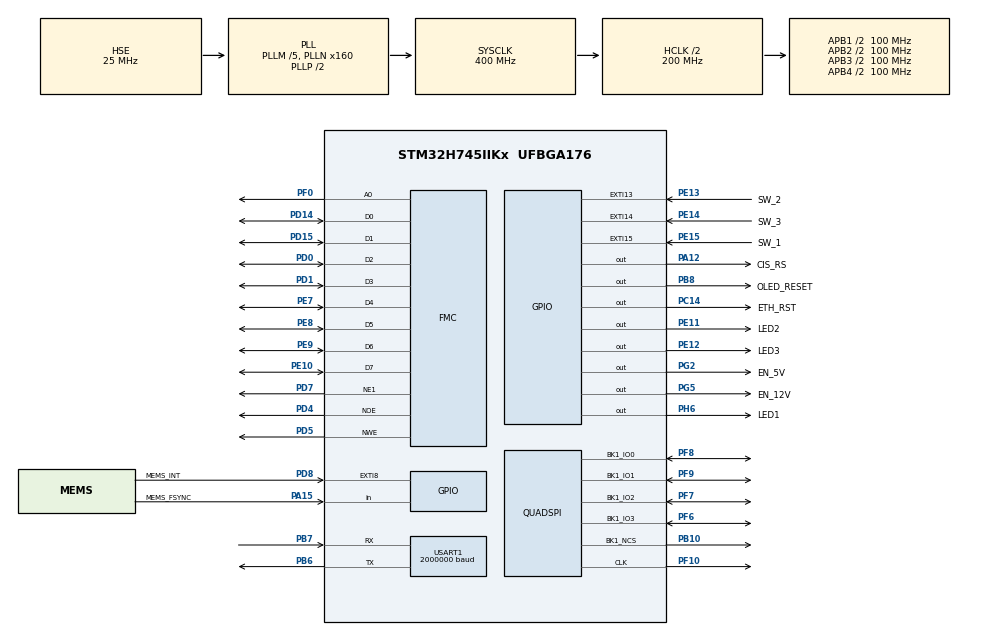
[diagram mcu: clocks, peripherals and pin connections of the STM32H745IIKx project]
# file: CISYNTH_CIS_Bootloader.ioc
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CORTEX_M7.AccessPermission_S-Cortex_Memory_Protection_Unit_Region1_Settings_S=MPU_REGION_FULL_ACCESS
CORTEX_M7.AccessPermission_S-Cortex_Memory_Protection_Unit_Region2_Settings_S=MPU_REGION_FULL_ACCESS
CORTEX_M7.BaseAddress_S-Cortex_Memory_Protection_Unit_Region1_Settings_S=0x40000000
CORTEX_M7.BaseAddress_S-Cortex_Memory_Protection_Unit_Region2_Settings_S=0x30044000
CORTEX_M7.CPU_DCache=Enabled
CORTEX_M7.CPU_ICache=Enabled
CORTEX_M7.Enable-Cortex_Memory_Protection_Unit_Region0_Settings=__NULL
CORTEX_M7.Enable-Cortex_Memory_Protection_Unit_Region1_Settings=__NULL
CORTEX_M7.Enable-Cortex_Memory_Protection_Unit_Region2_Settings=__NULL
CORTEX_M7.Enable-Cortex_Memory_Protection_Unit_Region3_Settings=__NULL
CORTEX_M7.Enable-Cortex_Memory_Protection_Unit_Region4_Settings=__NULL
CORTEX_M7.Enable_S-Cortex_Memory_Protection_Unit_Region1_Settings_S=MPU_REGION_ENABLE
CORTEX_M7.Enable_S-Cortex_Memory_Protection_Unit_Region2_Settings_S=MPU_REGION_ENABLE
CORTEX_M7.IsBufferable_S-Cortex_Memory_Protection_Unit_Region1_Settings_S=MPU_ACCESS_BUFFERABLE
CORTEX_M7.IsCacheable_S-Cortex_Memory_Protection_Unit_Region2_Settings_S=MPU_ACCESS_CACHEABLE
CORTEX_M7.MPU_Control=MPU_PRIVILEGED_DEFAULT
CORTEX_M7.Size_S-Cortex_Memory_Protection_Unit_Region1_Settings_S=MPU_REGION_SIZE_256B
CORTEX_M7.Size_S-Cortex_Memory_Protection_Unit_Region2_Settings_S=MPU_REGION_SIZE_16KB
CORTEX_M7.default_mode_Activation=0
CRC.InputDataFormat=CRC_INPUTDATA_FORMAT_BYTES
CRC.InputDataInversionMode=CRC_INPUTDATA_INVERSION_BYTE
CRC.OutputDataInversionMode=CRC_OUTPUTDATA_INVERSION_ENABLE
CortexM4.IPs=CORTEX_M4\:I,FATFS_M4\:I,FREERTOS_M4\:I,IWDG2\:I,OPENAMP_M4\:I,PDM2PCM_M4\:I,PWR,RCC,RESMGR_UTILITY,SYS_M4\:I,USB_DEVICE_M4\:I,USB_HOST_M4\:I,VREFBUF,WWDG2\:I,DMA,BDMA,MDMA,NVIC2\:I,GPIO
CortexM7.IPs=CORTEX_M7\:I,DEBUG\:I,FATFS_M7\:I,FREERTOS_M7\:I,IWDG1\:I,OPENAMP_M7\:I,PDM2PCM_M7\:I,PWR\:I,RCC\:I,RESMGR_UTILITY\:I,SYS\:I,USB_DEVICE_M7\:I,USB_HOST_M7\:I,VREFBUF\:I,WWDG1\:I,DMA\:I,BDMA\:I,MDMA\:I,NVIC1\:I,USART1\:I,RNG\:I,CRC\:I,FMC\:I,GPIO\:I,QUADSPI\:I
CortexM7.Pins=PB8,PA15 (JTDI),PA12,PC14-OSC32_IN (OSC32_IN),PG5,PG2,PD8,PE14,PE12,PE13,PE15,PH6,PE11
FATFS_M7._FS_NORTC=1
FATFS_M7._FS_RPATH=2
FATFS_M7._MAX_SS=4096
FATFS_M7._MIN_SS=4096
FATFS_M7._USE_LFN=3
FMC.AddressSetupTime1=8
FMC.BusTurnAroundDuration1=5
FMC.DataSetupTime1=10
FMC.ExtendedAddressSetupTime1=8
FMC.ExtendedBusTurnAroundDuration1=5
FMC.ExtendedDataSetupTime1=10
FMC.ExtendedMode1=FMC_EXTENDED_MODE_ENABLE
FMC.WaitSignal1-NorPsramChipSelect1_1=FMC_WAIT_SIGNAL_ENABLE
FMC.WriteBurst1-Lcd1=FMC_WRITE_BURST_ENABLE
FMC.WriteOperation1-Lcd1=FMC_WRITE_OPERATION_DISABLE
Mcu.Family=STM32H7
Mcu.Name=STM32H745IIKx
Mcu.Package=UFBGA176
NVIC1.EXTI15_10_IRQn=true\:0\:2\:true\:false\:true\:true\:true\:true
NVIC1.PriorityGroup=NVIC_PRIORITYGROUP_2
NVIC1.QUADSPI_IRQn=true\:2\:0\:true\:false\:true\:true\:true\:true
NVIC1.TIM2_IRQn=true\:0\:0\:true\:false\:true\:false\:true\:true
NVIC1.TimeBase=TIM2_IRQn
NVIC1.TimeBaseIP=TIM2
NVIC2.PriorityGroup=NVIC_PRIORITYGROUP_2
PA0_C.GPIO_Label=CIS_ADC_1
PA0_C.PinAttribute=CortexM7
PA0_C.Signal=ADCx_INP0
PA1.GPIO_Mode=GPIO_MODE_AF_PP
PA1.GPIO_PuPd=GPIO_NOPULL
PA1.GPIO_Speed=GPIO_SPEED_FREQ_VERY_HIGH
PA1.PinAttribute=CortexM7
PA1.Signal=ETH_REF_CLK
PA12.GPIO_Label=CIS_RS
PA12.GPIO_Speed=GPIO_SPEED_FREQ_VERY_HIGH
PA12.PinAttribute=CortexM7
PA12.Signal=GPIO_Output
PA13\ (JTMS/SWDIO).Mode=Serial_Wire
PA13\ (JTMS/SWDIO).PinAttribute=CortexM7
PA13\ (JTMS/SWDIO).Signal=DEBUG_JTMS-SWDIO
PA14\ (JTCK/SWCLK).Mode=Serial_Wire
PA14\ (JTCK/SWCLK).PinAttribute=CortexM7
PA14\ (JTCK/SWCLK).Signal=DEBUG_JTCK-SWCLK
PA15\ (JTDI).GPIO_Label=MEMS_FSYNC
PA15\ (JTDI).GPIO_PuPd=GPIO_PULLUP
PA15\ (JTDI).PinAttribute=CortexM7
PA15\ (JTDI).Signal=GPIO_Input
PA1_C.GPIO_Label=CIS_ADC_2
PA1_C.PinAttribute=CortexM7
PA1_C.Signal=ADCx_INP1
PA2.GPIO_Mode=GPIO_MODE_AF_PP
PA2.GPIO_PuPd=GPIO_NOPULL
PA2.GPIO_Speed=GPIO_SPEED_FREQ_VERY_HIGH
PA2.PinAttribute=CortexM7
PA2.Signal=ETH_MDIO
PA7.GPIO_Mode=GPIO_MODE_AF_PP
PA7.GPIO_PuPd=GPIO_NOPULL
PA7.GPIO_Speed=GPIO_SPEED_FREQ_VERY_HIGH
PA7.PinAttribute=CortexM7
PA7.Signal=ETH_CRS_DV
PA9.GPIO_Label=CIS_CP
PA9.GPIO_Speed=GPIO_SPEED_FREQ_MEDIUM
PA9.PinAttribute=CortexM7
PA9.Signal=S_TIM1_CH2
PB10.GPIO_Speed=GPIO_SPEED_FREQ_VERY_HIGH
PB10.Mode=Single Bank 1
PB10.PinAttribute=CortexM7
PB10.Signal=QUADSPI_BK1_NCS
PB14.GPIO_Speed=GPIO_SPEED_FREQ_VERY_HIGH
PB14.PinAttribute=CortexM7
PB14.Signal=SPI2_MISO
PB15.GPIO_Speed=GPIO_SPEED_FREQ_VERY_HIGH
PB15.PinAttribute=CortexM7
PB15.Signal=SPI2_MOSI
PB6.Mode=Asynchronous
PB6.PinAttribute=CortexM7
PB6.Signal=USART1_TX
PB7.Mode=Asynchronous
PB7.PinAttribute=CortexM7
PB7.Signal=USART1_RX
PB8.GPIO_FM8=SYSCFG_PMCR_I2C_PB8_FMP
PB8.GPIO_Label=OLED_RESET
PB8.GPIO_Speed=GPIO_SPEED_FREQ_LOW
PB8.PinAttribute=CortexM7
PB8.Signal=GPIO_Output
PB9.GPIO_FM9=SYSCFG_PMCR_I2C_PB9_FMP
PB9.GPIO_Label=MEMS_CS
PB9.GPIO_Speed=GPIO_SPEED_FREQ_VERY_HIGH
PB9.PinAttribute=CortexM7
PB9.Signal=SPI2_NSS
PC1.GPIO_Mode=GPIO_MODE_AF_PP
PC1.GPIO_PuPd=GPIO_NOPULL
PC1.GPIO_Speed=GPIO_SPEED_FREQ_VERY_HIGH
PC1.PinAttribute=CortexM7
PC1.Signal=ETH_MDC
PC14-OSC32_IN\ (OSC32_IN).GPIO_Label=ETH_RST
PC14-OSC32_IN\ (OSC32_IN).PinAttribute=CortexM7
PC14-OSC32_IN\ (OSC32_IN).Signal=GPIO_Output
PC3_C.GPIO_Label=CIS_ADC_3
PC3_C.PinAttribute=CortexM7
PC3_C.Signal=ADC3_INP1
PC4.GPIO_Mode=GPIO_MODE_AF_PP
PC4.GPIO_PuPd=GPIO_NOPULL
PC4.GPIO_Speed=GPIO_SPEED_FREQ_VERY_HIGH
PC4.PinAttribute=CortexM7
PC4.Signal=ETH_RXD0
PC5.GPIO_Mode=GPIO_MODE_AF_PP
PC5.GPIO_PuPd=GPIO_NOPULL
PC5.GPIO_Speed=GPIO_SPEED_FREQ_VERY_HIGH
PC5.PinAttribute=CortexM7
PC5.Signal=ETH_RXD1
PC6.GPIO_Label=CIS_LED_B
PC6.GPIO_Speed=GPIO_SPEED_FREQ_MEDIUM
PC6.PinAttribute=CortexM7
PC6.Signal=S_TIM3_CH1
PC8.GPIO_Label=CIS_SP
PC8.GPIO_Speed=GPIO_SPEED_FREQ_MEDIUM
PC8.PinAttribute=CortexM7
PC8.Signal=S_TIM8_CH3
PD0.PinAttribute=CortexM7
PD0.Signal=FMC_D2_DA2
PD1.PinAttribute=CortexM7
PD1.Signal=FMC_D3_DA3
PD13.GPIO_Label=CIS_LED_R
PD13.GPIO_Speed=GPIO_SPEED_FREQ_MEDIUM
PD13.PinAttribute=CortexM7
PD13.Signal=S_TIM4_CH2
PD14.PinAttribute=CortexM7
PD14.Signal=FMC_D0_DA0
PD15.PinAttribute=CortexM7
PD15.Signal=FMC_D1_DA1
PD3.GPIO_Speed=GPIO_SPEED_FREQ_VERY_HIGH
PD3.PinAttribute=CortexM7
PD3.Signal=SPI2_SCK
PD4.PinAttribute=CortexM7
PD4.Signal=FMC_NOE
PD5.PinAttribute=CortexM7
PD5.Signal=FMC_NWE
PD7.Mode=NorPsramChipSelect1_1
PD7.PinAttribute=CortexM7
PD7.Signal=FMC_NE1
PD8.GPIO_Label=MEMS_INT
PD8.GPIO_ModeDefaultEXTI=GPIO_MODE_IT_FALLING
PD8.GPIO_PuPd=GPIO_PULLUP
PD8.PinAttribute=CortexM7
PD8.Signal=GPXTI8
PE10.PinAttribute=CortexM7
PE10.Signal=FMC_D7_DA7
PE11.GPIO_Label=LED2
PE11.PinAttribute=CortexM7
PE11.PinState=GPIO_PIN_SET
PE11.Signal=GPIO_Output
PE12.GPIO_Label=LED3
PE12.PinAttribute=CortexM7
PE12.PinState=GPIO_PIN_SET
PE12.Signal=GPIO_Output
PE13.GPIO_Label=SW_2
PE13.GPIO_ModeDefaultEXTI=GPIO_MODE_IT_FALLING
PE13.PinAttribute=CortexM7
PE13.Signal=GPXTI13
PE14.GPIO_Label=SW_3
PE14.GPIO_ModeDefaultEXTI=GPIO_MODE_IT_FALLING
PE14.PinAttribute=CortexM7
PE14.Signal=GPXTI14
PE15.GPIO_Label=SW_1
PE15.GPIO_ModeDefaultEXTI=GPIO_MODE_IT_FALLING
PE15.PinAttribute=CortexM7
PE15.Signal=GPXTI15
PE7.PinAttribute=CortexM7
PE7.Signal=FMC_D4_DA4
PE8.PinAttribute=CortexM7
PE8.Signal=FMC_D5_DA5
PE9.PinAttribute=CortexM7
PE9.Signal=FMC_D6_DA6
PF0.PinAttribute=CortexM7
PF0.Signal=FMC_A0
PF10.GPIO_Speed=GPIO_SPEED_FREQ_VERY_HIGH
PF10.Mode=Single Bank 1
PF10.PinAttribute=CortexM7
PF10.Signal=QUADSPI_CLK
PF6.GPIO_Speed=GPIO_SPEED_FREQ_VERY_HIGH
PF6.Mode=Single Bank 1
PF6.PinAttribute=CortexM7
PF6.Signal=QUADSPI_BK1_IO3
PF7.GPIO_Speed=GPIO_SPEED_FREQ_VERY_HIGH
PF7.Mode=Single Bank 1
PF7.PinAttribute=CortexM7
PF7.Signal=QUADSPI_BK1_IO2
PF8.GPIO_Speed=GPIO_SPEED_FREQ_VERY_HIGH
PF8.Mode=Single Bank 1
PF8.PinAttribute=CortexM7
PF8.Signal=QUADSPI_BK1_IO0
PF9.GPIO_Speed=GPIO_SPEED_FREQ_VERY_HIGH
PF9.Mode=Single Bank 1
PF9.PinAttribute=CortexM7
PF9.Signal=QUADSPI_BK1_IO1
PG11.GPIO_Mode=GPIO_MODE_AF_PP
PG11.GPIO_PuPd=GPIO_NOPULL
PG11.GPIO_Speed=GPIO_SPEED_FREQ_VERY_HIGH
PG11.PinAttribute=CortexM7
PG11.Signal=ETH_TX_EN
PG13.GPIO_Mode=GPIO_MODE_AF_PP
PG13.GPIO_PuPd=GPIO_NOPULL
PG13.GPIO_Speed=GPIO_SPEED_FREQ_VERY_HIGH
PG13.PinAttribute=CortexM7
PG13.Signal=ETH_TXD0
PG14.GPIO_Mode=GPIO_MODE_AF_PP
PG14.GPIO_PuPd=GPIO_NOPULL
PG14.GPIO_Speed=GPIO_SPEED_FREQ_VERY_HIGH
PG14.PinAttribute=CortexM7
PG14.Signal=ETH_TXD1
PG2.GPIO_Label=EN_5V
PG2.PinAttribute=CortexM7
PG2.Signal=GPIO_Output
PG5.GPIO_Label=EN_12V
PG5.PinAttribute=CortexM7
PG5.Signal=GPIO_Output
PH0-OSC_IN\ (PH0).Mode=HSE-External-Oscillator
PH0-OSC_IN\ (PH0).PinAttribute=Free
PH0-OSC_IN\ (PH0).Signal=RCC_OSC_IN
PH1-OSC_OUT\ (PH1).Mode=HSE-External-Oscillator
PH1-OSC_OUT\ (PH1).PinAttribute=Free
PH1-OSC_OUT\ (PH1).Signal=RCC_OSC_OUT
PH12.GPIO_Label=CIS_LED_G
PH12.GPIO_Speed=GPIO_SPEED_FREQ_MEDIUM
PH12.PinAttribute=CortexM7
PH12.Signal=S_TIM5_CH3
PH6.GPIO_Label=LED1
PH6.GPIO_Speed=GPIO_SPEED_FREQ_LOW
PH6.PinAttribute=CortexM7
PH6.PinState=GPIO_PIN_SET
PH6.Signal=GPIO_Output
ProjectManager.HeapSize=M4-0x400,M7-0x400
ProjectManager.StackSize=M4-0x800,M7-0x800
ProjectManager.TargetToolchain=STM32CubeIDE
QUADSPI.ChipSelectHighTime=QSPI_CS_HIGH_TIME_4_CYCLE
QUADSPI.ClockPrescaler=1
QUADSPI.FifoThreshold=16
QUADSPI.SampleShifting=QSPI_SAMPLE_SHIFTING_HALFCYCLE
RCC.ADCFreq_Value=80000000
RCC.APB1Freq_Value=100000000
RCC.APB2Freq_Value=100000000
RCC.APB3Freq_Value=100000000
RCC.APB4Freq_Value=100000000
RCC.CKPERSourceSelection=RCC_CLKPSOURCE_HSE
RCC.CortexFreq_Value=400000000
RCC.D1PPRE=RCC_APB3_DIV2
RCC.D2PPRE1=RCC_APB1_DIV2
RCC.D2PPRE2=RCC_APB2_DIV2
RCC.D3PPRE=RCC_APB4_DIV2
RCC.DIVM1=5
RCC.DIVM2=5
RCC.DIVM3=5
RCC.DIVN1=160
RCC.DIVN2=160
RCC.DIVN3=160
RCC.DIVP2=10
RCC.DIVP3=16
RCC.DIVQ1=8
RCC.DIVQ2=10
RCC.DIVQ3=16
RCC.DIVR1=4
RCC.DIVR2=10
RCC.DIVR3=16
RCC.FLatency-AdvancedSettings=FLASH_LATENCY_0
RCC.FMCCLockSelection=RCC_FMCCLKSOURCE_PLL
RCC.HCLKFreq_Value=200000000
RCC.HPRE=RCC_HCLK_DIV2
RCC.PLL1_VCI_Range-AdvancedSettings=RCC_PLL1VCIRANGE_0
RCC.PLL1_VCO_SEL-AdvancedSettings=RCC_PLL1VCOMEDIUM
RCC.PLL3_VCI_Range-AdvancedSettings=RCC_PLL3VCIRANGE_0
RCC.PLL3_VCO_SEL-AdvancedSettings=RCC_PLL3VCOMEDIUM
RCC.PLLFRACN=0
RCC.PLLSourceVirtual=RCC_PLLSOURCE_HSE
RCC.PWR_Regulator_Voltage_Scale=PWR_REGULATOR_VOLTAGE_SCALE1
RCC.QSPICLockSelection=RCC_QSPICLKSOURCE_PLL
RCC.SAI1CLockSelection=RCC_SAI1CLKSOURCE_PLL2
RCC.SPI123CLockSelection=RCC_SPI123CLKSOURCE_PLL2
RCC.SYSCLKFreq_VALUE=400000000
RCC.SYSCLKSource=RCC_SYSCLKSOURCE_PLLCLK
RCC.USART16CLockSelection=RCC_USART16CLKSOURCE_PLL3
RCC.USBFreq_Value=100000000
SH.ADCx_INP0.0=ADC1_INP0
SH.ADCx_INP1.0=ADC2_INP1
SH.FMC_A0.0=FMC_A0,A0_1
SH.FMC_D0_DA0.0=FMC_D0,8b-d1
SH.FMC_D1_DA1.0=FMC_D1,8b-d1
SH.FMC_D2_DA2.0=FMC_D2,8b-d1
SH.FMC_D3_DA3.0=FMC_D3,8b-d1
SH.FMC_D4_DA4.0=FMC_D4,8b-d1
SH.FMC_D5_DA5.0=FMC_D5,8b-d1
SH.FMC_D6_DA6.0=FMC_D6,8b-d1
SH.FMC_D7_DA7.0=FMC_D7,8b-d1
SH.FMC_NOE.0=FMC_NOE,Lcd1
SH.FMC_NWE.0=FMC_NWE,Lcd1
SH.S_TIM1_CH2.0=TIM1_CH2
SH.S_TIM3_CH1.0=TIM3_CH1
SH.S_TIM4_CH2.0=TIM4_CH2
SH.S_TIM5_CH3.0=TIM5_CH3
SH.S_TIM8_CH3.0=TIM8_CH3
USART1.BaudRate=2000000
USART1.VirtualMode-Asynchronous=VM_ASYNC
VP_CRC_VS_CRC.Mode=CRC_Activate
VP_FATFS_M7_VS_Generic.Mode=User_defined
VP_RNG_VS_RNG.Mode=RNG_Activate
VP_SYS_M4_VS_Systick.Mode=SysTick
board=custom

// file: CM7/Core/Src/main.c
/* USER CODE BEGIN Header */
/**
 ******************************************************************************
 * @file           : main.c
 * @brief          : Main program body
 ******************************************************************************
 * @attention
 *
 * Copyright (c) 2024 STMicroelectronics.
 * All rights reserved.
 *
 * This software is licensed under terms that can be found in the LICENSE file
 * in the root directory of this software component.
 * If no LICENSE file comes with this software, it is provided AS-IS.
 *
 ******************************************************************************
 */
/* USER CODE END Header */
#include "main.h"
#include "crc.h"
#include "fatfs.h"
#include "quadspi.h"
#include "rng.h"
#include "usart.h"
#include "gpio.h"
#include "fmc.h"

/* USER CODE BEGIN Includes */
#include "boot_config.h"
#include "stm32_flash.h"
#include "file_manager.h"

#include "update.h"
#include "update_gui.h"

#include "basetypes.h"
#include "stdio.h"
#include "stdbool.h"

/* USER CODE END Includes */

/* USER CODE BEGIN PV */

typedef void (*pFunction)(void);

/* USER CODE END PV */

void SystemClock_Config(void);
static void MPU_Config(void);
/* USER CODE BEGIN PFP */

/* Function prototypes */
static void configureBootConfiguration(void);
static void reboot(void);
static void gotoFirmware(uint32_t fwFlashStartAdd);

/* USER CODE END PFP */

/* USER CODE BEGIN 0 */

#include "stm32h7xx_hal.h"

/**
 * @brief  Configure boot settings for CM4.
 *         This function checks and updates the option bytes to ensure the correct
 *         boot address and permissions for the Cortex-M4 core.
 */
void configureBootConfiguration(void)
{
    bool needUpdate = false;
    FLASH_OBProgramInitTypeDef currentOB = {0};
    FLASH_OBProgramInitTypeDef newOB     = {0};

    // 1) Unlock the FLASH and the option bytes
    HAL_FLASH_Unlock();
    HAL_FLASH_OB_Unlock();

    // 2) Read the current option bytes configuration
    HAL_FLASHEx_OBGetConfig(&currentOB);

    // 3) Check if the current boot addresses match the desired ones
    uint32_t currentCm4Boot = currentOB.CM4BootAddr0;

    if (currentCm4Boot != FW_CM4_START_ADDR)
    {
        newOB.OptionType |= OPTIONBYTE_CM4_BOOTADD;
        newOB.CM4BootConfig = OB_BOOT_ADD0;
        newOB.CM4BootAddr0 = FW_CM4_START_ADDR;

        needUpdate = true;
    }

    // 4) Check if the CM4 is currently allowed to boot
    if (READ_BIT(SYSCFG->UR1, SYSCFG_UR1_BCM4) != 0U)
    {
        newOB.OptionType |= OPTIONBYTE_USER;
        newOB.USERType   |= OB_USER_BCM4;
        newOB.USERConfig = (currentOB.USERConfig & ~OB_BCM4_ENABLE) | OB_BCM4_DISABLE;

        needUpdate = true;
    }

    // 5) Apply the new configuration if needed
    if (needUpdate)
    {
        // Program the new option bytes
        if (HAL_FLASHEx_OBProgram(&newOB) != HAL_OK)
        {
            Error_Handler();
        }

        // Trigger the update of the option bytes
        if (HAL_FLASH_OB_Launch() != HAL_OK)
        {
            Error_Handler();
        }

        // Restart the system to apply the changes
        HAL_NVIC_SystemReset();
    }

    // 8) Relock
    HAL_FLASH_OB_Lock();
    HAL_FLASH_Lock();
}

/**
 * @brief  Reboot the system after a delay.
 */
static void reboot(void)
{
	printf("Rebooting in 2\n");
	/* Wait 2 seconds. */
	HAL_Delay(2000);
	NVIC_SystemReset();
}

/**
 * @brief  Jump to the firmware stored in flash memory.
 * @param  fwFlashStartAdd  Address where the firmware starts in flash memory.
 */
static void gotoFirmware(uint32_t fwFlashStartAdd)
{
	HAL_MPU_Disable();
	HAL_SuspendTick();

	__disable_irq(); // Disable interrupt

	SysTick->CTRL = 0;  // Disable SysTick
	SysTick->LOAD = 0;
	SysTick->VAL  = 0;

	HAL_RCC_DeInit();

	for (uint8_t i = 0; i < 8; i++) // Clear all NVIC Enable and Pending registers
	{
		NVIC->ICER[i] = 0xFFFFFFFF;
		NVIC->ICPR[i] = 0xFFFFFFFF;
	}

	// Validate firmware address
	uint32_t appStack = *((volatile uint32_t*) fwFlashStartAdd);
	uint32_t appEntry = *((volatile uint32_t*) (fwFlashStartAdd + 4));

	SCB_DisableICache();
	SCB_DisableDCache();

	__enable_irq();

	__DMB();
	SCB->VTOR = fwFlashStartAdd;
	__DSB();

	HAL_DeInit();
	__set_MSP(appStack);

	pFunction jumpToApplication = (pFunction)appEntry;
	jumpToApplication();
}
/* USER CODE END 0 */

int main(void)
{

	/* USER CODE BEGIN Boot_Mode_Sequence_0 */

	/* USER CODE END Boot_Mode_Sequence_0 */

	/* MPU Configuration--------------------------------------------------------*/
	MPU_Config();

	/* Enable the CPU Cache */

	/* Enable I-Cache---------------------------------------------------------*/
	SCB_EnableICache();

	/* Enable D-Cache---------------------------------------------------------*/
	SCB_EnableDCache();

	/* USER CODE BEGIN Boot_Mode_Sequence_1 */

	/* USER CODE END Boot_Mode_Sequence_1 */
	/* MCU Configuration--------------------------------------------------------*/

	/* Reset of all peripherals, Initializes the Flash interface and the Systick. */
	HAL_Init();

	/* USER CODE BEGIN Init */
	configureBootConfiguration();
	/* USER CODE END Init */

	/* Configure the system clock */
	SystemClock_Config();
	/* USER CODE BEGIN Boot_Mode_Sequence_2 */
	//STM32Flash_writePersistentData(FW_UPDATE_RECEIVED);	//uncomment for testing
	//STM32Flash_writePersistentData(FW_UPDATE_NONE);

	/* USER CODE END Boot_Mode_Sequence_2 */

	/* USER CODE BEGIN SysInit */

	/* Initialize the Flash Update State */
	FW_UpdateState dataRead;
	STM32Flash_readPersistentData(&dataRead);

	if (dataRead == FW_UPDATE_NONE)
	{
		gotoFirmware(FW_CM7_START_ADDR);
	}

	if (dataRead == FW_UPDATE_TO_TEST)
	{
		STM32Flash_writePersistentData(FW_UPDATE_TESTING);
		gotoFirmware(FW_CM7_START_ADDR);
	}
	/* USER CODE END SysInit */

	/* Initialize all configured peripherals */
	MX_GPIO_Init();
	MX_FMC_Init();
	MX_USART1_UART_Init();
	MX_RNG_Init();
	MX_CRC_Init();
	MX_QUADSPI_Init();
	MX_FATFS_Init();
	/* USER CODE BEGIN 2 */

	printf("\n------- START BOOTLOADER -------\n");

	gui_init();
	printf("Bootloader version: %s\n", BL_VERSION);

	printf("----- FILE INITIALIZATION ------\n");

	FRESULT fres; // Variable to store the result of FATFS operations

	// Attempt to mount the file system on SD card or USB (where the package is stored)
	fres = f_mount(&fs, "0:", 1);
	if (fres != FR_OK)
	{
		printf("FS mount ERROR\n");
		gui_displayUpdateFailed();
	}
	printf("FS mount SUCCESS\n");

	if (dataRead == FW_UPDATE_TESTING)
	{
		printf("--- RESTORE PREVIOUS FIRMWARE --\n");
		if (update_restoreBackupFirmwares() != FWUPDATE_OK)
		{
			gui_displayUpdateFailed();

			reboot();
		}

		/* Reboot after we close the connection. */
		if (STM32Flash_writePersistentData(FW_UPDATE_TO_TEST) != STM32FLASH_OK)
		{
			printf("Failed to write firmware update status in STM32 flash\n");
		}
		else
		{
			printf("Firmware update done, reset firmware update flag\n");
		}

		gui_displayUpdateSuccess();

		reboot();
	}

	if (dataRead == FW_UPDATE_DONE)
	{
		/* Reboot after we close the connection. */
		if (STM32Flash_writePersistentData(FW_UPDATE_NONE) != STM32FLASH_OK)
		{
			printf("Failed to write firmware update status in STM32 flash\n");
		}
		else
		{
			printf("Firmware update done, reset firmware update flag\n");
		}

		gui_displayUpdateSuccess();

		reboot();
	}

	if (dataRead == FW_UPDATE_RECEIVED)
	{
		char packageFilePath[64];

		// Find the package file
		if (update_findPackageFile(packageFilePath, sizeof(packageFilePath)) != FWUPDATE_OK)
		{
			printf("No firmware found in /firmware/\n");

			if (STM32Flash_writePersistentData(FW_UPDATE_NONE) != STM32FLASH_OK)
			{
				printf("Failed to write firmware update status in STM32 flash\n");
			}
			else
			{
				printf("Firmware update abort, reset firmware update flag\n");
			}

			gui_displayUpdateFailed();
			reboot();
		}
		else
		{
			printf("Found package file: %s\n", packageFilePath);

			printf("--------- START UPDATE ---------\n");

			fwupdate_StatusTypeDef status = update_processPackageFile(packageFilePath);
			if (status != FWUPDATE_OK)
			{
				if (status != FWUPDATE_CRCMISMATCH)
				{
					printf("Firmware update failed\n");
					gui_displayUpdateFailed();
				}
				else
				{
					printf("Preparing to reset all cores \n");

					if (STM32Flash_writePersistentData(FW_UPDATE_NONE) != STM32FLASH_OK)
					{
						printf("Failed to write firmware update status in STM32 flash\n");
					}
					else
					{
						printf("Firmware update aborted \n");
						reboot();
					}
				}
			}
			else
			{
				printf("Firmware update completed successfully\n");
				gui_displayUpdateTesting();
			}
		}

		printf("Preparing to reset all cores \n");

		/* Reboot after we close the connection. */
		if (STM32Flash_writePersistentData(FW_UPDATE_TO_TEST) != STM32FLASH_OK)
		{
			printf("Failed to write firmware update status in STM32 flash\n");
		}
		else
		{
			printf("Firmware update must be tested now \n");
			reboot();
		}
	}

	/* USER CODE END 2 */

	/* Infinite loop */
	while (1)
	{

	}
}

void SystemClock_Config(void)
{
	RCC_OscInitTypeDef RCC_OscInitStruct = {0};
	RCC_ClkInitTypeDef RCC_ClkInitStruct = {0};

	/** Supply configuration update enable
	 */
	HAL_PWREx_ConfigSupply(PWR_DIRECT_SMPS_SUPPLY);

	/** Configure the main internal regulator output voltage
	 */
	__HAL_PWR_VOLTAGESCALING_CONFIG(PWR_REGULATOR_VOLTAGE_SCALE1);

	while(!__HAL_PWR_GET_FLAG(PWR_FLAG_VOSRDY)) {}

	/** Initializes the RCC Oscillators according to the specified parameters
	 * in the RCC_OscInitTypeDef structure.
	 */
	RCC_OscInitStruct.OscillatorType = RCC_OSCILLATORTYPE_HSI48|RCC_OSCILLATORTYPE_HSE;
	RCC_OscInitStruct.HSEState = RCC_HSE_ON;
	RCC_OscInitStruct.HSI48State = RCC_HSI48_ON;
	RCC_OscInitStruct.PLL.PLLState = RCC_PLL_ON;
	RCC_OscInitStruct.PLL.PLLSource = RCC_PLLSOURCE_HSE;
	RCC_OscInitStruct.PLL.PLLM = 5;
	RCC_OscInitStruct.PLL.PLLN = 160;
	RCC_OscInitStruct.PLL.PLLP = 2;
	RCC_OscInitStruct.PLL.PLLQ = 8;
	RCC_OscInitStruct.PLL.PLLR = 4;
	RCC_OscInitStruct.PLL.PLLRGE = RCC_PLL1VCIRANGE_2;
	RCC_OscInitStruct.PLL.PLLVCOSEL = RCC_PLL1VCOWIDE;
	RCC_OscInitStruct.PLL.PLLFRACN = 0;
	if (HAL_RCC_OscConfig(&RCC_OscInitStruct) != HAL_OK)
	{
		Error_Handler();
	}

	/** Initializes the CPU, AHB and APB buses clocks
	 */
	RCC_ClkInitStruct.ClockType = RCC_CLOCKTYPE_HCLK|RCC_CLOCKTYPE_SYSCLK
			|RCC_CLOCKTYPE_PCLK1|RCC_CLOCKTYPE_PCLK2
			|RCC_CLOCKTYPE_D3PCLK1|RCC_CLOCKTYPE_D1PCLK1;
	RCC_ClkInitStruct.SYSCLKSource = RCC_SYSCLKSOURCE_PLLCLK;
	RCC_ClkInitStruct.SYSCLKDivider = RCC_SYSCLK_DIV1;
	RCC_ClkInitStruct.AHBCLKDivider = RCC_HCLK_DIV2;
	RCC_ClkInitStruct.APB3CLKDivider = RCC_APB3_DIV2;
	RCC_ClkInitStruct.APB1CLKDivider = RCC_APB1_DIV2;
	RCC_ClkInitStruct.APB2CLKDivider = RCC_APB2_DIV2;
	RCC_ClkInitStruct.APB4CLKDivider = RCC_APB4_DIV2;

	if (HAL_RCC_ClockConfig(&RCC_ClkInitStruct, FLASH_LATENCY_2) != HAL_OK)
	{
		Error_Handler();
	}
}

/* MPU Configuration */

void MPU_Config(void)
{

	/* Disables the MPU */
	HAL_MPU_Disable();
	/* Enables the MPU */
	HAL_MPU_Enable(MPU_PRIVILEGED_DEFAULT);

}

void HAL_TIM_PeriodElapsedCallback(TIM_HandleTypeDef *htim)
{
	if (htim->Instance == TIM2) {
		HAL_IncTick();
	}
}

void Error_Handler(void)
{
	__disable_irq();
	while (1)
	{
	}
}
